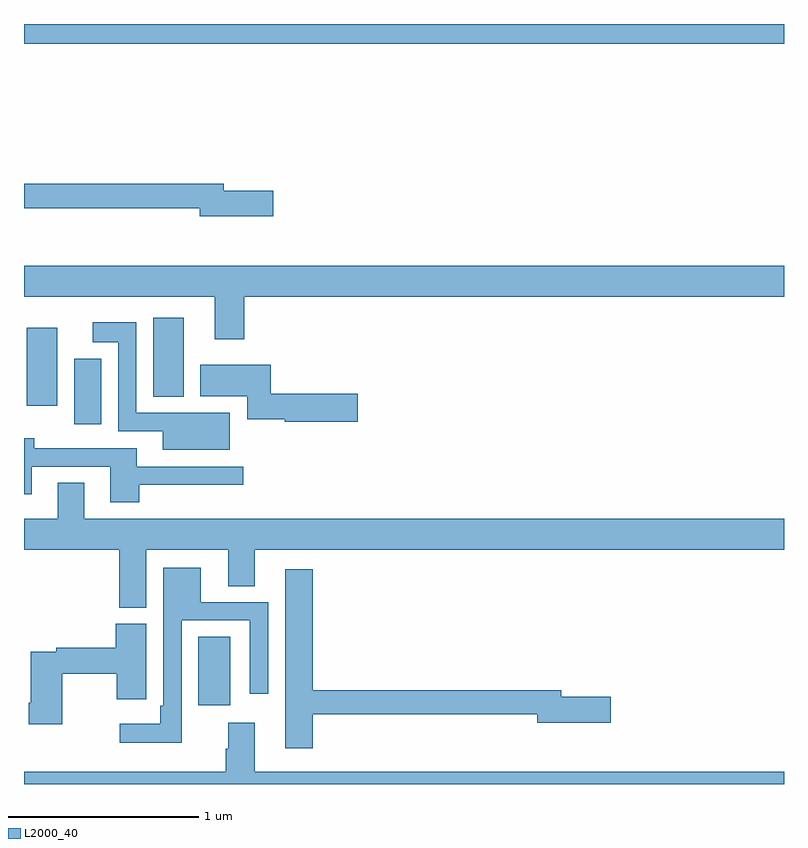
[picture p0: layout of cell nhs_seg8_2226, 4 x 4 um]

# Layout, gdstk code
import gdstk
lib = gdstk.Library(unit=1e-6, precision=1e-09)
def R(c, l, rs):  # rectangles x0, y0, x1, y1
    for r in rs: c.add(gdstk.rectangle(r[:2], r[2:], *l))
def P(c, l, *ps):  # polygons
    for p in ps: c.add(gdstk.Polygon(p, *l))
L2000_40 = (2000, 40)

nhs_seg8_2226 = lib.new_cell('nhs_seg8_2226')
R(nhs_seg8_2226, L2000_40, [(251.918,1150.314,252.085,1150.676), (251.264,1151.793,251.407,1152.139), (251.015,1151.892,251.176,1152.301), (251.681,1151.939,251.842,1152.355), (251,1153.796,255,1153.9)])
P(nhs_seg8_2226, L2000_40, [(252.313,1153.022),(252.052,1153.022),(252.052,1153.058),(251,1153.058),(251,1152.93),(251.924,1152.93),(251.924,1152.887),(252.313,1152.887)],
  [(252.158,1152.464),(255,1152.464),(255,1152.628),(251,1152.628),(251,1152.464),(252.005,1152.464),(252.005,1152.24),(252.158,1152.24)],
  [(252.082,1151.854),(251.838,1151.854),(251.838,1151.853),(251.592,1151.853),(251.592,1152.331),(251.361,1152.331),(251.361,1152.224),(251.496,1152.224),(251.496,1151.757),(251.729,1151.757),(251.729,1151.66),(252.082,1151.66)],
  [(252.757,1151.954),(252.299,1151.954),(252.299,1152.106),(251.927,1152.106),(251.927,1151.942),(252.176,1151.942),(252.176,1151.819),(252.372,1151.819),(252.372,1151.807),(252.757,1151.807)],
  [(251.606,1151.474),(252.154,1151.474),(252.154,1151.571),(251.593,1151.571),(251.593,1151.667),(251.054,1151.667),(251.054,1151.719),(251,1151.719),(251,1151.424),(251.041,1151.424),(251.041,1151.571),(251.453,1151.571),(251.453,1151.382),(251.606,1151.382)],
  [(251.644,1151.132),(252.074,1151.132),(252.074,1150.942),(252.214,1150.942),(252.214,1151.132),(255,1151.132),(255,1151.296),(251.317,1151.296),(251.317,1151.486),(251.177,1151.486),(251.177,1151.296),(251,1151.296),(251,1151.132),(251.501,1151.132),(251.501,1150.828),(251.644,1150.828)],
  [(251.829,1150.761),(252.189,1150.761),(252.189,1150.374),(252.285,1150.374),(252.285,1150.857),(251.929,1150.857),(251.929,1151.038),(251.733,1151.038),(251.733,1150.312),(251.717,1150.312),(251.717,1150.216),(251.505,1150.216),(251.505,1150.118),(251.829,1150.118)],
  [(252.521,1150.266),(253.7,1150.266),(253.7,1150.223),(254.089,1150.223),(254.089,1150.358),(253.828,1150.358),(253.828,1150.394),(252.521,1150.394),(252.521,1151.029),(252.374,1151.029),(252.374,1150.089),(252.521,1150.089)],
  [(251.202,1150.48),(251.488,1150.48),(251.488,1150.347),(251.643,1150.347),(251.643,1150.459),(251.644,1150.459),(251.644,1150.743),(251.483,1150.743),(251.483,1150.616),(251.17,1150.616),(251.17,1150.596),(251.036,1150.596),(251.036,1150.327),(251.024,1150.327),(251.024,1150.215),(251.202,1150.215)],
  [(255,1149.964),(252.214,1149.964),(252.214,1150.222),(252.074,1150.222),(252.074,1150.085),(252.062,1150.085),(252.062,1149.964),(251,1149.964),(251,1149.9),(255,1149.9)])

lib.write_gds('nhs_seg8_2226.gds')
